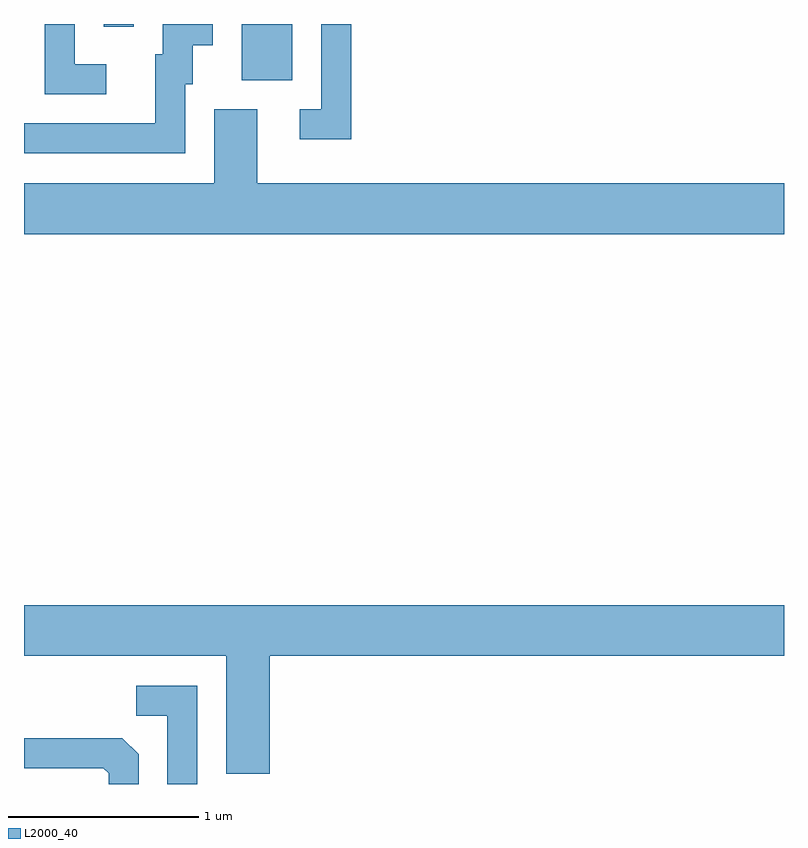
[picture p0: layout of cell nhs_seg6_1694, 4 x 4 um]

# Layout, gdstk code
import gdstk
lib = gdstk.Library(unit=1e-6, precision=1e-09)
def R(c, l, rs):  # rectangles x0, y0, x1, y1
    for r in rs: c.add(gdstk.rectangle(r[:2], r[2:], *l))
def P(c, l, *ps):  # polygons
    for p in ps: c.add(gdstk.Polygon(p, *l))
L2000_40 = (2000, 40)

nhs_seg6_1694 = lib.new_cell('nhs_seg6_1694')
R(nhs_seg6_1694, L2000_40, [(236.756,1641.866,237.024,1642.162), (236.031,1642.148,236.189,1642.162)])
P(nhs_seg6_1694, L2000_40, [(236.459,1641.846),(236.499,1641.846),(236.499,1642.051),(236.604,1642.051),(236.604,1642.162),(236.341,1642.162),(236.341,1642.004),(236.301,1642.004),(236.301,1641.639),(235.611,1641.639),(235.611,1641.481),(236.459,1641.481)],
  [(236.043,1641.949),(235.879,1641.949),(235.879,1642.162),(235.721,1642.162),(235.721,1641.791),(236.043,1641.791)],
  [(237.334,1642.162),(237.176,1642.162),(237.176,1641.714),(237.063,1641.714),(237.063,1641.556),(237.334,1641.556)],
  [(239.611,1641.324),(236.839,1641.324),(236.839,1641.714),(236.611,1641.714),(236.611,1641.324),(235.611,1641.324),(235.611,1641.056),(239.611,1641.056)],
  [(236.904,1638.836),(239.611,1638.836),(239.611,1639.104),(235.611,1639.104),(235.611,1638.836),(236.676,1638.836),(236.676,1638.216),(236.904,1638.216)],
  [(236.524,1638.679),(236.203,1638.679),(236.203,1638.521),(236.366,1638.521),(236.366,1638.162),(236.524,1638.162)],
  [(236.214,1638.319),(236.129,1638.404),(235.611,1638.404),(235.611,1638.246),(236.029,1638.246),(236.056,1638.219),(236.056,1638.162),(236.214,1638.162)])

lib.write_gds('nhs_seg6_1694.gds')
